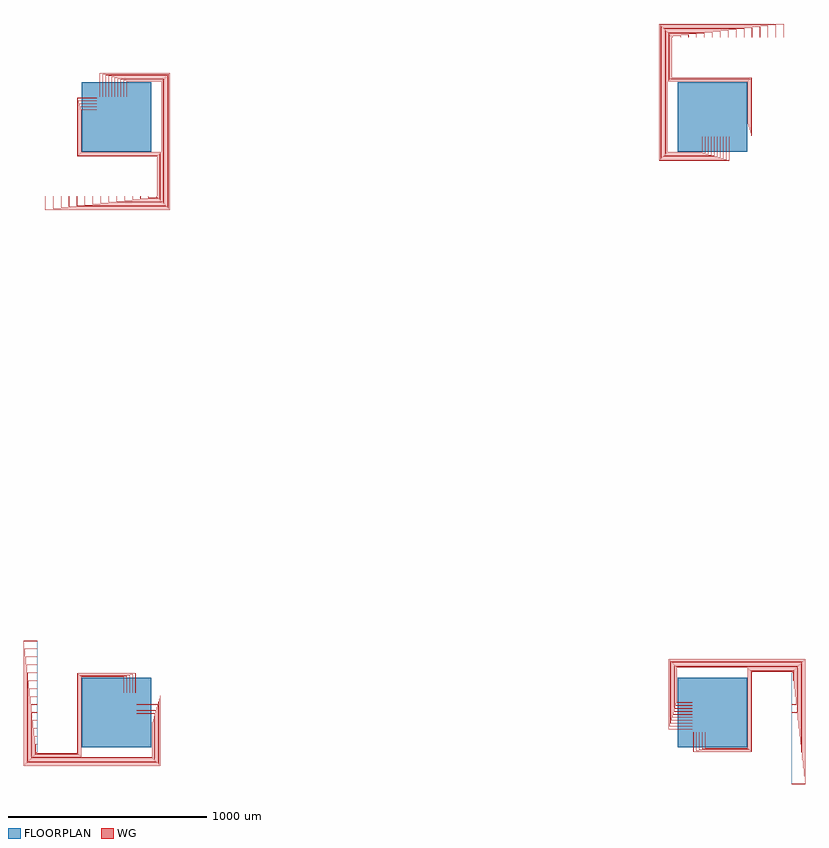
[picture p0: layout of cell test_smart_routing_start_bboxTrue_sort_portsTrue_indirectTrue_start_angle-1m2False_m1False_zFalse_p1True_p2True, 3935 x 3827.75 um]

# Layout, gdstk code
import gdstk
lib = gdstk.Library(unit=1e-6, precision=1e-09)
def R(c, l, rs):  # rectangles x0, y0, x1, y1
    for r in rs: c.add(gdstk.rectangle(r[:2], r[2:], *l))
def P(c, l, *ps):  # polygons
    for p in ps: c.add(gdstk.Polygon(p, *l))
WG = (1, 0)
FLOORPLAN = (10, 0)

test_smart_routing_start = lib.new_cell('test_smart_routing_start_bboxTrue_sort_portsTrue_indirectTrue_start_angle-1m2False_m1False_zFalse_p1True_p2True')
P(test_smart_routing_start, WG, [(3100,2904.75),(3100,2904.95),(3197.3,2904.95),(3197.3,3197.3),(2795.55,3197.3),(2795.55,3404.2),(2799.95,3404.2),(2799.95,3400),(2799.75,3400),(2799.75,3404),(2795.75,3404),(2795.75,3197.5),(3197.5,3197.5),(3197.5,2904.75)],
  [(3100,2905.05),(3100,2905.25),(3197,2905.25),(3197,3197),(2795.25,3197),(2795.25,3404.5),(2800.25,3404.5),(2800.25,3400),(2800.05,3400),(2800.05,3404.3),(2795.45,3404.3),(2795.45,3197.2),(3197.2,3197.2),(3197.2,2905.05)],
  [(3100,2919.75),(3100,2919.95),(3192.8,2919.95),(3192.8,3192.8),(2791.05,3192.8),(2791.05,3408.7),(2839.95,3408.7),(2839.95,3400),(2839.75,3400),(2839.75,3408.5),(2791.25,3408.5),(2791.25,3193),(3193,3193),(3193,2919.75)],
  [(3100,2920.05),(3100,2920.25),(3192.5,2920.25),(3192.5,3192.5),(2790.75,3192.5),(2790.75,3409),(2840.25,3409),(2840.25,3400),(2840.05,3400),(2840.05,3408.8),(2790.95,3408.8),(2790.95,3192.7),(3192.7,3192.7),(3192.7,2920.05)],
  [(3100,2934.75),(3100,2934.95),(3188.3,2934.95),(3188.3,3188.3),(2786.55,3188.3),(2786.55,3413.2),(2879.95,3413.2),(2879.95,3400),(2879.75,3400),(2879.75,3413),(2786.75,3413),(2786.75,3188.5),(3188.5,3188.5),(3188.5,2934.75)],
  [(3100,2935.05),(3100,2935.25),(3188,2935.25),(3188,3188),(2786.25,3188),(2786.25,3413.5),(2880.25,3413.5),(2880.25,3400),(2880.05,3400),(2880.05,3413.3),(2786.45,3413.3),(2786.45,3188.2),(3188.2,3188.2),(3188.2,2935.05)],
  [(3100,2949.75),(3100,2949.95),(3183.8,2949.95),(3183.8,3183.8),(2782.05,3183.8),(2782.05,3417.7),(2919.95,3417.7),(2919.95,3400),(2919.75,3400),(2919.75,3417.5),(2782.25,3417.5),(2782.25,3184),(3184,3184),(3184,2949.75)],
  [(3100,2950.05),(3100,2950.25),(3183.5,2950.25),(3183.5,3183.5),(2781.75,3183.5),(2781.75,3418),(2920.25,3418),(2920.25,3400),(2920.05,3400),(2920.05,3417.8),(2781.95,3417.8),(2781.95,3183.7),(3183.7,3183.7),(3183.7,2950.05)],
  [(3100,2964.75),(3100,2964.95),(3179.3,2964.95),(3179.3,3179.3),(2777.55,3179.3),(2777.55,3422.2),(2959.95,3422.2),(2959.95,3400),(2959.75,3400),(2959.75,3422),(2777.75,3422),(2777.75,3179.5),(3179.5,3179.5),(3179.5,2964.75)],
  [(3100,2965.05),(3100,2965.25),(3179,2965.25),(3179,3179),(2777.25,3179),(2777.25,3422.5),(2960.25,3422.5),(2960.25,3400),(2960.05,3400),(2960.05,3422.3),(2777.45,3422.3),(2777.45,3179.2),(3179.2,3179.2),(3179.2,2965.05)],
  [(2773.05,2820.8),(2773.05,3426.7),(2999.95,3426.7),(2999.95,3400),(2999.75,3400),(2999.75,3426.5),(2773.25,3426.5),(2773.25,2821),(2949.75,2821),(2949.75,2900),(2949.95,2900),(2949.95,2820.8)],
  [(2772.75,2820.5),(2772.75,3427),(3000.25,3427),(3000.25,3400),(3000.05,3400),(3000.05,3426.8),(2772.95,3426.8),(2772.95,2820.7),(2950.05,2820.7),(2950.05,2900),(2950.25,2900),(2950.25,2820.5)],
  [(2768.55,2816.3),(2768.55,3431.2),(3039.95,3431.2),(3039.95,3400),(3039.75,3400),(3039.75,3431),(2768.75,3431),(2768.75,2816.5),(2964.75,2816.5),(2964.75,2900),(2964.95,2900),(2964.95,2816.3)],
  [(2768.25,2816),(2768.25,3431.5),(3040.25,3431.5),(3040.25,3400),(3040.05,3400),(3040.05,3431.3),(2768.45,3431.3),(2768.45,2816.2),(2965.05,2816.2),(2965.05,2900),(2965.25,2900),(2965.25,2816)],
  [(2764.05,2811.8),(2764.05,3435.7),(3079.95,3435.7),(3079.95,3400),(3079.75,3400),(3079.75,3435.5),(2764.25,3435.5),(2764.25,2812),(2979.75,2812),(2979.75,2900),(2979.95,2900),(2979.95,2811.8)],
  [(2763.75,2811.5),(2763.75,3436),(3080.25,3436),(3080.25,3400),(3080.05,3400),(3080.05,3435.8),(2763.95,3435.8),(2763.95,2811.7),(2980.05,2811.7),(2980.05,2900),(2980.25,2900),(2980.25,2811.5)],
  [(2759.55,2807.3),(2759.55,3440.2),(3119.95,3440.2),(3119.95,3400),(3119.75,3400),(3119.75,3440),(2759.75,3440),(2759.75,2807.5),(2994.75,2807.5),(2994.75,2900),(2994.95,2900),(2994.95,2807.3)],
  [(2759.25,2807),(2759.25,3440.5),(3120.25,3440.5),(3120.25,3400),(3120.05,3400),(3120.05,3440.3),(2759.45,3440.3),(2759.45,2807.2),(2995.05,2807.2),(2995.05,2900),(2995.25,2900),(2995.25,2807)],
  [(2755.05,2802.8),(2755.05,3444.7),(3159.95,3444.7),(3159.95,3400),(3159.75,3400),(3159.75,3444.5),(2755.25,3444.5),(2755.25,2803),(3009.75,2803),(3009.75,2900),(3009.95,2900),(3009.95,2802.8)],
  [(2754.75,2802.5),(2754.75,3445),(3160.25,3445),(3160.25,3400),(3160.05,3400),(3160.05,3444.8),(2754.95,3444.8),(2754.95,2802.7),(3010.05,2802.7),(3010.05,2900),(3010.25,2900),(3010.25,2802.5)],
  [(2750.55,2798.3),(2750.55,3449.2),(3199.95,3449.2),(3199.95,3400),(3199.75,3400),(3199.75,3449),(2750.75,3449),(2750.75,2798.5),(3024.75,2798.5),(3024.75,2900),(3024.95,2900),(3024.95,2798.3)],
  [(2750.25,2798),(2750.25,3449.5),(3200.25,3449.5),(3200.25,3400),(3200.05,3400),(3200.05,3449.3),(2750.45,3449.3),(2750.45,2798.2),(3025.05,2798.2),(3025.05,2900),(3025.25,2900),(3025.25,2798)],
  [(2746.05,2793.8),(2746.05,3453.7),(3239.95,3453.7),(3239.95,3400),(3239.75,3400),(3239.75,3453.5),(2746.25,3453.5),(2746.25,2794),(3039.75,2794),(3039.75,2900),(3039.95,2900),(3039.95,2793.8)],
  [(2745.75,2793.5),(2745.75,3454),(3240.25,3454),(3240.25,3400),(3240.05,3400),(3240.05,3453.8),(2745.95,3453.8),(2745.95,2793.7),(3040.05,2793.7),(3040.05,2900),(3040.25,2900),(3040.25,2793.5)],
  [(2741.55,2789.3),(2741.55,3458.2),(3279.95,3458.2),(3279.95,3400),(3279.75,3400),(3279.75,3458),(2741.75,3458),(2741.75,2789.5),(3054.75,2789.5),(3054.75,2900),(3054.95,2900),(3054.95,2789.3)],
  [(2741.25,2789),(2741.25,3458.5),(3280.25,3458.5),(3280.25,3400),(3280.05,3400),(3280.05,3458.3),(2741.45,3458.3),(2741.45,2789.2),(3055.05,2789.2),(3055.05,2900),(3055.25,2900),(3055.25,2789)],
  [(2737.05,2784.8),(2737.05,3462.7),(3319.95,3462.7),(3319.95,3400),(3319.75,3400),(3319.75,3462.5),(2737.25,3462.5),(2737.25,2785),(3069.75,2785),(3069.75,2900),(3069.95,2900),(3069.95,2784.8)],
  [(2736.75,2784.5),(2736.75,3463),(3320.25,3463),(3320.25,3400),(3320.05,3400),(3320.05,3462.8),(2736.95,3462.8),(2736.95,2784.7),(3070.05,2784.7),(3070.05,2900),(3070.25,2900),(3070.25,2784.5)],
  [(2732.55,2780.3),(2732.55,3467.2),(3359.95,3467.2),(3359.95,3400),(3359.75,3400),(3359.75,3467),(2732.75,3467),(2732.75,2780.5),(3084.75,2780.5),(3084.75,2900),(3084.95,2900),(3084.95,2780.3)],
  [(2732.25,2780),(2732.25,3467.5),(3360.25,3467.5),(3360.25,3400),(3360.05,3400),(3360.05,3467.3),(2732.45,3467.3),(2732.45,2780.2),(3085.05,2780.2),(3085.05,2900),(3085.25,2900),(3085.25,2780)],
  [(199.75,2595.5),(199.75,2600),(199.95,2600),(199.95,2595.7),(204.55,2595.7),(204.55,2802.8),(-197.2,2802.8),(-197.2,3094.95),(-100,3094.95),(-100,3094.75),(-197,3094.75),(-197,2803),(204.75,2803),(204.75,2595.5)],
  [(200.05,2595.8),(200.05,2600),(200.25,2600),(200.25,2596),(204.25,2596),(204.25,2802.5),(-197.5,2802.5),(-197.5,3095.25),(-100,3095.25),(-100,3095.05),(-197.3,3095.05),(-197.3,2802.7),(204.45,2802.7),(204.45,2595.8)],
  [(159.75,2591),(159.75,2600),(159.95,2600),(159.95,2591.2),(209.05,2591.2),(209.05,2807.3),(-192.7,2807.3),(-192.7,3079.95),(-100,3079.95),(-100,3079.75),(-192.5,3079.75),(-192.5,2807.5),(209.25,2807.5),(209.25,2591)],
  [(160.05,2591.3),(160.05,2600),(160.25,2600),(160.25,2591.5),(208.75,2591.5),(208.75,2807),(-193,2807),(-193,3080.25),(-100,3080.25),(-100,3080.05),(-192.8,3080.05),(-192.8,2807.2),(208.95,2807.2),(208.95,2591.3)],
  [(119.75,2586.5),(119.75,2600),(119.95,2600),(119.95,2586.7),(213.55,2586.7),(213.55,2811.8),(-188.2,2811.8),(-188.2,3064.95),(-100,3064.95),(-100,3064.75),(-188,3064.75),(-188,2812),(213.75,2812),(213.75,2586.5)],
  [(120.05,2586.8),(120.05,2600),(120.25,2600),(120.25,2587),(213.25,2587),(213.25,2811.5),(-188.5,2811.5),(-188.5,3065.25),(-100,3065.25),(-100,3065.05),(-188.3,3065.05),(-188.3,2811.7),(213.45,2811.7),(213.45,2586.8)],
  [(79.75,2582),(79.75,2600),(79.95,2600),(79.95,2582.2),(218.05,2582.2),(218.05,2816.3),(-183.7,2816.3),(-183.7,3049.95),(-100,3049.95),(-100,3049.75),(-183.5,3049.75),(-183.5,2816.5),(218.25,2816.5),(218.25,2582)],
  [(80.05,2582.3),(80.05,2600),(80.25,2600),(80.25,2582.5),(217.75,2582.5),(217.75,2816),(-184,2816),(-184,3050.25),(-100,3050.25),(-100,3050.05),(-183.8,3050.05),(-183.8,2816.2),(217.95,2816.2),(217.95,2582.3)],
  [(39.75,2577.5),(39.75,2600),(39.95,2600),(39.95,2577.7),(222.55,2577.7),(222.55,2820.8),(-179.2,2820.8),(-179.2,3034.95),(-100,3034.95),(-100,3034.75),(-179,3034.75),(-179,2821),(222.75,2821),(222.75,2577.5)],
  [(40.05,2577.8),(40.05,2600),(40.25,2600),(40.25,2578),(222.25,2578),(222.25,2820.5),(-179.5,2820.5),(-179.5,3035.25),(-100,3035.25),(-100,3035.05),(-179.3,3035.05),(-179.3,2820.7),(222.45,2820.7),(222.45,2577.8)],
  [(0.05,2573.3),(0.05,2600),(0.25,2600),(0.25,2573.5),(226.75,2573.5),(226.75,3179),(50.25,3179),(50.25,3100),(50.05,3100),(50.05,3179.2),(226.95,3179.2),(226.95,2573.3)],
  [(-0.25,2573),(-0.25,2600),(-0.05,2600),(-0.05,2573.2),(227.05,2573.2),(227.05,3179.3),(49.95,3179.3),(49.95,3100),(49.75,3100),(49.75,3179.5),(227.25,3179.5),(227.25,2573)],
  [(-39.95,2568.8),(-39.95,2600),(-39.75,2600),(-39.75,2569),(231.25,2569),(231.25,3183.5),(35.25,3183.5),(35.25,3100),(35.05,3100),(35.05,3183.7),(231.45,3183.7),(231.45,2568.8)],
  [(-40.25,2568.5),(-40.25,2600),(-40.05,2600),(-40.05,2568.7),(231.55,2568.7),(231.55,3183.8),(34.95,3183.8),(34.95,3100),(34.75,3100),(34.75,3184),(231.75,3184),(231.75,2568.5)],
  [(-79.95,2564.3),(-79.95,2600),(-79.75,2600),(-79.75,2564.5),(235.75,2564.5),(235.75,3188),(20.25,3188),(20.25,3100),(20.05,3100),(20.05,3188.2),(235.95,3188.2),(235.95,2564.3)],
  [(-80.25,2564),(-80.25,2600),(-80.05,2600),(-80.05,2564.2),(236.05,2564.2),(236.05,3188.3),(19.95,3188.3),(19.95,3100),(19.75,3100),(19.75,3188.5),(236.25,3188.5),(236.25,2564)],
  [(-119.95,2559.8),(-119.95,2600),(-119.75,2600),(-119.75,2560),(240.25,2560),(240.25,3192.5),(5.25,3192.5),(5.25,3100),(5.05,3100),(5.05,3192.7),(240.45,3192.7),(240.45,2559.8)],
  [(-120.25,2559.5),(-120.25,2600),(-120.05,2600),(-120.05,2559.7),(240.55,2559.7),(240.55,3192.8),(4.95,3192.8),(4.95,3100),(4.75,3100),(4.75,3193),(240.75,3193),(240.75,2559.5)],
  [(-159.95,2555.3),(-159.95,2600),(-159.75,2600),(-159.75,2555.5),(244.75,2555.5),(244.75,3197),(-9.75,3197),(-9.75,3100),(-9.95,3100),(-9.95,3197.2),(244.95,3197.2),(244.95,2555.3)],
  [(-160.25,2555),(-160.25,2600),(-160.05,2600),(-160.05,2555.2),(245.05,2555.2),(245.05,3197.3),(-10.05,3197.3),(-10.05,3100),(-10.25,3100),(-10.25,3197.5),(245.25,3197.5),(245.25,2555)],
  [(-199.95,2550.8),(-199.95,2600),(-199.75,2600),(-199.75,2551),(249.25,2551),(249.25,3201.5),(-24.75,3201.5),(-24.75,3100),(-24.95,3100),(-24.95,3201.7),(249.45,3201.7),(249.45,2550.8)],
  [(-200.25,2550.5),(-200.25,2600),(-200.05,2600),(-200.05,2550.7),(249.55,2550.7),(249.55,3201.8),(-25.05,3201.8),(-25.05,3100),(-25.25,3100),(-25.25,3202),(249.75,3202),(249.75,2550.5)],
  [(-239.95,2546.3),(-239.95,2600),(-239.75,2600),(-239.75,2546.5),(253.75,2546.5),(253.75,3206),(-39.75,3206),(-39.75,3100),(-39.95,3100),(-39.95,3206.2),(253.95,3206.2),(253.95,2546.3)],
  [(-240.25,2546),(-240.25,2600),(-240.05,2600),(-240.05,2546.2),(254.05,2546.2),(254.05,3206.3),(-40.05,3206.3),(-40.05,3100),(-40.25,3100),(-40.25,3206.5),(254.25,3206.5),(254.25,2546)],
  [(-279.95,2541.8),(-279.95,2600),(-279.75,2600),(-279.75,2542),(258.25,2542),(258.25,3210.5),(-54.75,3210.5),(-54.75,3100),(-54.95,3100),(-54.95,3210.7),(258.45,3210.7),(258.45,2541.8)],
  [(-280.25,2541.5),(-280.25,2600),(-280.05,2600),(-280.05,2541.7),(258.55,2541.7),(258.55,3210.8),(-55.05,3210.8),(-55.05,3100),(-55.25,3100),(-55.25,3211),(258.75,3211),(258.75,2541.5)],
  [(-319.95,2537.3),(-319.95,2600),(-319.75,2600),(-319.75,2537.5),(262.75,2537.5),(262.75,3215),(-69.75,3215),(-69.75,3100),(-69.95,3100),(-69.95,3215.2),(262.95,3215.2),(262.95,2537.3)],
  [(-320.25,2537),(-320.25,2600),(-320.05,2600),(-320.05,2537.2),(263.05,2537.2),(263.05,3215.3),(-70.05,3215.3),(-70.05,3100),(-70.25,3100),(-70.25,3215.5),(263.25,3215.5),(263.25,2537)],
  [(-359.95,2532.8),(-359.95,2600),(-359.75,2600),(-359.75,2533),(267.25,2533),(267.25,3219.5),(-84.75,3219.5),(-84.75,3100),(-84.95,3100),(-84.95,3219.7),(267.45,3219.7),(267.45,2532.8)],
  [(-360.25,2532.5),(-360.25,2600),(-360.05,2600),(-360.05,2532.7),(267.55,2532.7),(267.55,3219.8),(-85.05,3219.8),(-85.05,3100),(-85.25,3100),(-85.25,3220),(267.75,3220),(267.75,2532.5)],
  [(-404.5,-204.75),(-404.5,-199.75),(-400,-199.75),(-400,-199.95),(-404.3,-199.95),(-404.3,-204.55),(-197.2,-204.55),(-197.2,197.2),(94.95,197.2),(94.95,100),(94.75,100),(94.75,197),(-197,197),(-197,-204.75)],
  [(-404.2,-204.45),(-404.2,-200.05),(-400,-200.05),(-400,-200.25),(-404,-200.25),(-404,-204.25),(-197.5,-204.25),(-197.5,197.5),(95.25,197.5),(95.25,100),(95.05,100),(95.05,197.3),(-197.3,197.3),(-197.3,-204.45)],
  [(-409,-209.25),(-409,-159.75),(-400,-159.75),(-400,-159.95),(-408.8,-159.95),(-408.8,-209.05),(-192.7,-209.05),(-192.7,192.7),(79.95,192.7),(79.95,100),(79.75,100),(79.75,192.5),(-192.5,192.5),(-192.5,-209.25)],
  [(-408.7,-208.95),(-408.7,-160.05),(-400,-160.05),(-400,-160.25),(-408.5,-160.25),(-408.5,-208.75),(-193,-208.75),(-193,193),(80.25,193),(80.25,100),(80.05,100),(80.05,192.8),(-192.8,192.8),(-192.8,-208.95)],
  [(-413.5,-213.75),(-413.5,-119.75),(-400,-119.75),(-400,-119.95),(-413.3,-119.95),(-413.3,-213.55),(-188.2,-213.55),(-188.2,188.2),(64.95,188.2),(64.95,100),(64.75,100),(64.75,188),(-188,188),(-188,-213.75)],
  [(-413.2,-213.45),(-413.2,-120.05),(-400,-120.05),(-400,-120.25),(-413,-120.25),(-413,-213.25),(-188.5,-213.25),(-188.5,188.5),(65.25,188.5),(65.25,100),(65.05,100),(65.05,188.3),(-188.3,188.3),(-188.3,-213.45)],
  [(-418,-218.25),(-418,-79.75),(-400,-79.75),(-400,-79.95),(-417.8,-79.95),(-417.8,-218.05),(-183.7,-218.05),(-183.7,183.7),(49.95,183.7),(49.95,100),(49.75,100),(49.75,183.5),(-183.5,183.5),(-183.5,-218.25)],
  [(-417.7,-217.95),(-417.7,-80.05),(-400,-80.05),(-400,-80.25),(-417.5,-80.25),(-417.5,-217.75),(-184,-217.75),(-184,184),(50.25,184),(50.25,100),(50.05,100),(50.05,183.8),(-183.8,183.8),(-183.8,-217.95)],
  [(-422.5,-222.75),(-422.5,-39.75),(-400,-39.75),(-400,-39.95),(-422.3,-39.95),(-422.3,-222.55),(-179.2,-222.55),(-179.2,179.2),(34.95,179.2),(34.95,100),(34.75,100),(34.75,179),(-179,179),(-179,-222.75)],
  [(-422.2,-222.45),(-422.2,-40.05),(-400,-40.05),(-400,-40.25),(-422,-40.25),(-422,-222.25),(-179.5,-222.25),(-179.5,179.5),(35.25,179.5),(35.25,100),(35.05,100),(35.05,179.3),(-179.3,179.3),(-179.3,-222.45)],
  [(-426.7,-226.95),(-426.7,-0.05),(-400,-0.05),(-400,-0.25),(-426.5,-0.25),(-426.5,-226.75),(179,-226.75),(179,-50.25),(100,-50.25),(100,-50.05),(179.2,-50.05),(179.2,-226.95)],
  [(-427,-227.25),(-427,0.25),(-400,0.25),(-400,0.05),(-426.8,0.05),(-426.8,-227.05),(179.3,-227.05),(179.3,-49.95),(100,-49.95),(100,-49.75),(179.5,-49.75),(179.5,-227.25)],
  [(-431.2,-231.45),(-431.2,39.95),(-400,39.95),(-400,39.75),(-431,39.75),(-431,-231.25),(183.5,-231.25),(183.5,-35.25),(100,-35.25),(100,-35.05),(183.7,-35.05),(183.7,-231.45)],
  [(-431.5,-231.75),(-431.5,40.25),(-400,40.25),(-400,40.05),(-431.3,40.05),(-431.3,-231.55),(183.8,-231.55),(183.8,-34.95),(100,-34.95),(100,-34.75),(184,-34.75),(184,-231.75)],
  [(-435.7,-235.95),(-435.7,79.95),(-400,79.95),(-400,79.75),(-435.5,79.75),(-435.5,-235.75),(188,-235.75),(188,-20.25),(100,-20.25),(100,-20.05),(188.2,-20.05),(188.2,-235.95)],
  [(-436,-236.25),(-436,80.25),(-400,80.25),(-400,80.05),(-435.8,80.05),(-435.8,-236.05),(188.3,-236.05),(188.3,-19.95),(100,-19.95),(100,-19.75),(188.5,-19.75),(188.5,-236.25)],
  [(-440.2,-240.45),(-440.2,119.95),(-400,119.95),(-400,119.75),(-440,119.75),(-440,-240.25),(192.5,-240.25),(192.5,-5.25),(100,-5.25),(100,-5.05),(192.7,-5.05),(192.7,-240.45)],
  [(-440.5,-240.75),(-440.5,120.25),(-400,120.25),(-400,120.05),(-440.3,120.05),(-440.3,-240.55),(192.8,-240.55),(192.8,-4.95),(100,-4.95),(100,-4.75),(193,-4.75),(193,-240.75)],
  [(-444.7,-244.95),(-444.7,159.95),(-400,159.95),(-400,159.75),(-444.5,159.75),(-444.5,-244.75),(197,-244.75),(197,9.75),(100,9.75),(100,9.95),(197.2,9.95),(197.2,-244.95)],
  [(-445,-245.25),(-445,160.25),(-400,160.25),(-400,160.05),(-444.8,160.05),(-444.8,-245.05),(197.3,-245.05),(197.3,10.05),(100,10.05),(100,10.25),(197.5,10.25),(197.5,-245.25)],
  [(-449.2,-249.45),(-449.2,199.95),(-400,199.95),(-400,199.75),(-449,199.75),(-449,-249.25),(201.5,-249.25),(201.5,24.75),(100,24.75),(100,24.95),(201.7,24.95),(201.7,-249.45)],
  [(-449.5,-249.75),(-449.5,200.25),(-400,200.25),(-400,200.05),(-449.3,200.05),(-449.3,-249.55),(201.8,-249.55),(201.8,25.05),(100,25.05),(100,25.25),(202,25.25),(202,-249.75)],
  [(-453.7,-253.95),(-453.7,239.95),(-400,239.95),(-400,239.75),(-453.5,239.75),(-453.5,-253.75),(206,-253.75),(206,39.75),(100,39.75),(100,39.95),(206.2,39.95),(206.2,-253.95)],
  [(-454,-254.25),(-454,240.25),(-400,240.25),(-400,240.05),(-453.8,240.05),(-453.8,-254.05),(206.3,-254.05),(206.3,40.05),(100,40.05),(100,40.25),(206.5,40.25),(206.5,-254.25)],
  [(-458.2,-258.45),(-458.2,279.95),(-400,279.95),(-400,279.75),(-458,279.75),(-458,-258.25),(210.5,-258.25),(210.5,54.75),(100,54.75),(100,54.95),(210.7,54.95),(210.7,-258.45)],
  [(-458.5,-258.75),(-458.5,280.25),(-400,280.25),(-400,280.05),(-458.3,280.05),(-458.3,-258.55),(210.8,-258.55),(210.8,55.05),(100,55.05),(100,55.25),(211,55.25),(211,-258.75)],
  [(-462.7,-262.95),(-462.7,319.95),(-400,319.95),(-400,319.75),(-462.5,319.75),(-462.5,-262.75),(215,-262.75),(215,69.75),(100,69.75),(100,69.95),(215.2,69.95),(215.2,-262.95)],
  [(-463,-263.25),(-463,320.25),(-400,320.25),(-400,320.05),(-462.8,320.05),(-462.8,-263.05),(215.3,-263.05),(215.3,70.05),(100,70.05),(100,70.25),(215.5,70.25),(215.5,-263.25)],
  [(-467.2,-267.45),(-467.2,359.95),(-400,359.95),(-400,359.75),(-467,359.75),(-467,-267.25),(219.5,-267.25),(219.5,84.75),(100,84.75),(100,84.95),(219.7,84.95),(219.7,-267.45)],
  [(-467.5,-267.75),(-467.5,360.25),(-400,360.25),(-400,360.05),(-467.3,360.05),(-467.3,-267.55),(219.8,-267.55),(219.8,85.05),(100,85.05),(100,85.25),(220,85.25),(220,-267.75)],
  [(2904.75,-197.5),(2904.75,-100),(2904.95,-100),(2904.95,-197.3),(3197.3,-197.3),(3197.3,204.45),(3404.2,204.45),(3404.2,200.05),(3400,200.05),(3400,200.25),(3404,200.25),(3404,204.25),(3197.5,204.25),(3197.5,-197.5)],
  [(2905.05,-197.2),(2905.05,-100),(2905.25,-100),(2905.25,-197),(3197,-197),(3197,204.75),(3404.5,204.75),(3404.5,199.75),(3400,199.75),(3400,199.95),(3404.3,199.95),(3404.3,204.55),(3197.2,204.55),(3197.2,-197.2)],
  [(2919.75,-193),(2919.75,-100),(2919.95,-100),(2919.95,-192.8),(3192.8,-192.8),(3192.8,208.95),(3408.7,208.95),(3408.7,160.05),(3400,160.05),(3400,160.25),(3408.5,160.25),(3408.5,208.75),(3193,208.75),(3193,-193)],
  [(2920.05,-192.7),(2920.05,-100),(2920.25,-100),(2920.25,-192.5),(3192.5,-192.5),(3192.5,209.25),(3409,209.25),(3409,159.75),(3400,159.75),(3400,159.95),(3408.8,159.95),(3408.8,209.05),(3192.7,209.05),(3192.7,-192.7)],
  [(2934.75,-188.5),(2934.75,-100),(2934.95,-100),(2934.95,-188.3),(3188.3,-188.3),(3188.3,213.45),(3413.2,213.45),(3413.2,120.05),(3400,120.05),(3400,120.25),(3413,120.25),(3413,213.25),(3188.5,213.25),(3188.5,-188.5)],
  [(2935.05,-188.2),(2935.05,-100),(2935.25,-100),(2935.25,-188),(3188,-188),(3188,213.75),(3413.5,213.75),(3413.5,119.75),(3400,119.75),(3400,119.95),(3413.3,119.95),(3413.3,213.55),(3188.2,213.55),(3188.2,-188.2)],
  [(2949.75,-184),(2949.75,-100),(2949.95,-100),(2949.95,-183.8),(3183.8,-183.8),(3183.8,217.95),(3417.7,217.95),(3417.7,80.05),(3400,80.05),(3400,80.25),(3417.5,80.25),(3417.5,217.75),(3184,217.75),(3184,-184)],
  [(2950.05,-183.7),(2950.05,-100),(2950.25,-100),(2950.25,-183.5),(3183.5,-183.5),(3183.5,218.25),(3418,218.25),(3418,79.75),(3400,79.75),(3400,79.95),(3417.8,79.95),(3417.8,218.05),(3183.7,218.05),(3183.7,-183.7)],
  [(2964.75,-179.5),(2964.75,-100),(2964.95,-100),(2964.95,-179.3),(3179.3,-179.3),(3179.3,222.45),(3422.2,222.45),(3422.2,40.05),(3400,40.05),(3400,40.25),(3422,40.25),(3422,222.25),(3179.5,222.25),(3179.5,-179.5)],
  [(2965.05,-179.2),(2965.05,-100),(2965.25,-100),(2965.25,-179),(3179,-179),(3179,222.75),(3422.5,222.75),(3422.5,39.75),(3400,39.75),(3400,39.95),(3422.3,39.95),(3422.3,222.55),(3179.2,222.55),(3179.2,-179.2)],
  [(3400,0.05),(3400,0.25),(3426.5,0.25),(3426.5,226.75),(2821,226.75),(2821,50.25),(2900,50.25),(2900,50.05),(2820.8,50.05),(2820.8,226.95),(3426.7,226.95),(3426.7,0.05)],
  [(3400,-0.25),(3400,-0.05),(3426.8,-0.05),(3426.8,227.05),(2820.7,227.05),(2820.7,49.95),(2900,49.95),(2900,49.75),(2820.5,49.75),(2820.5,227.25),(3427,227.25),(3427,-0.25)],
  [(3400,-39.95),(3400,-39.75),(3431,-39.75),(3431,231.25),(2816.5,231.25),(2816.5,35.25),(2900,35.25),(2900,35.05),(2816.3,35.05),(2816.3,231.45),(3431.2,231.45),(3431.2,-39.95)],
  [(3400,-40.25),(3400,-40.05),(3431.3,-40.05),(3431.3,231.55),(2816.2,231.55),(2816.2,34.95),(2900,34.95),(2900,34.75),(2816,34.75),(2816,231.75),(3431.5,231.75),(3431.5,-40.25)],
  [(3400,-79.95),(3400,-79.75),(3435.5,-79.75),(3435.5,235.75),(2812,235.75),(2812,20.25),(2900,20.25),(2900,20.05),(2811.8,20.05),(2811.8,235.95),(3435.7,235.95),(3435.7,-79.95)],
  [(3400,-80.25),(3400,-80.05),(3435.8,-80.05),(3435.8,236.05),(2811.7,236.05),(2811.7,19.95),(2900,19.95),(2900,19.75),(2811.5,19.75),(2811.5,236.25),(3436,236.25),(3436,-80.25)],
  [(3400,-119.95),(3400,-119.75),(3440,-119.75),(3440,240.25),(2807.5,240.25),(2807.5,5.25),(2900,5.25),(2900,5.05),(2807.3,5.05),(2807.3,240.45),(3440.2,240.45),(3440.2,-119.95)],
  [(3400,-120.25),(3400,-120.05),(3440.3,-120.05),(3440.3,240.55),(2807.2,240.55),(2807.2,4.95),(2900,4.95),(2900,4.75),(2807,4.75),(2807,240.75),(3440.5,240.75),(3440.5,-120.25)],
  [(3400,-159.95),(3400,-159.75),(3444.5,-159.75),(3444.5,244.75),(2803,244.75),(2803,-9.75),(2900,-9.75),(2900,-9.95),(2802.8,-9.95),(2802.8,244.95),(3444.7,244.95),(3444.7,-159.95)],
  [(3400,-160.25),(3400,-160.05),(3444.8,-160.05),(3444.8,245.05),(2802.7,245.05),(2802.7,-10.05),(2900,-10.05),(2900,-10.25),(2802.5,-10.25),(2802.5,245.25),(3445,245.25),(3445,-160.25)],
  [(3400,-199.95),(3400,-199.75),(3449,-199.75),(3449,249.25),(2798.5,249.25),(2798.5,-24.75),(2900,-24.75),(2900,-24.95),(2798.3,-24.95),(2798.3,249.45),(3449.2,249.45),(3449.2,-199.95)],
  [(3400,-200.25),(3400,-200.05),(3449.3,-200.05),(3449.3,249.55),(2798.2,249.55),(2798.2,-25.05),(2900,-25.05),(2900,-25.25),(2798,-25.25),(2798,249.75),(3449.5,249.75),(3449.5,-200.25)],
  [(3400,-239.95),(3400,-239.75),(3453.5,-239.75),(3453.5,253.75),(2794,253.75),(2794,-39.75),(2900,-39.75),(2900,-39.95),(2793.8,-39.95),(2793.8,253.95),(3453.7,253.95),(3453.7,-239.95)],
  [(3400,-240.25),(3400,-240.05),(3453.8,-240.05),(3453.8,254.05),(2793.7,254.05),(2793.7,-40.05),(2900,-40.05),(2900,-40.25),(2793.5,-40.25),(2793.5,254.25),(3454,254.25),(3454,-240.25)],
  [(3400,-279.95),(3400,-279.75),(3458,-279.75),(3458,258.25),(2789.5,258.25),(2789.5,-54.75),(2900,-54.75),(2900,-54.95),(2789.3,-54.95),(2789.3,258.45),(3458.2,258.45),(3458.2,-279.95)],
  [(3400,-280.25),(3400,-280.05),(3458.3,-280.05),(3458.3,258.55),(2789.2,258.55),(2789.2,-55.05),(2900,-55.05),(2900,-55.25),(2789,-55.25),(2789,258.75),(3458.5,258.75),(3458.5,-280.25)],
  [(3400,-319.95),(3400,-319.75),(3462.5,-319.75),(3462.5,262.75),(2785,262.75),(2785,-69.75),(2900,-69.75),(2900,-69.95),(2784.8,-69.95),(2784.8,262.95),(3462.7,262.95),(3462.7,-319.95)],
  [(3400,-320.25),(3400,-320.05),(3462.8,-320.05),(3462.8,263.05),(2784.7,263.05),(2784.7,-70.05),(2900,-70.05),(2900,-70.25),(2784.5,-70.25),(2784.5,263.25),(3463,263.25),(3463,-320.25)],
  [(3400,-359.95),(3400,-359.75),(3467,-359.75),(3467,267.25),(2780.5,267.25),(2780.5,-84.75),(2900,-84.75),(2900,-84.95),(2780.3,-84.95),(2780.3,267.45),(3467.2,267.45),(3467.2,-359.95)],
  [(3400,-360.25),(3400,-360.05),(3467.3,-360.05),(3467.3,267.55),(2780.2,267.55),(2780.2,-85.05),(2900,-85.05),(2900,-85.25),(2780,-85.25),(2780,267.75),(3467.5,267.75),(3467.5,-360.25)])
R(test_smart_routing_start, FLOORPLAN, [(-175,-175,175,175), (2825,-175,3175,175), (-175,2825,175,3175), (2825,2825,3175,3175)])
P(test_smart_routing_start, FLOORPLAN, [(-400,-200),(-400,360),(-400,360),(-400,-200)],
  [(-360,2600),(-360,2600),(200,2600),(200,2600)],
  [(3400,-360),(3400,200),(3400,200),(3400,-360)],
  [(2800,3400),(2800,3400),(3360,3400),(3360,3400)])

lib.write_gds('test_smart_routing_start_bboxTrue_sort_portsTrue_indirectTrue_start_angle-1m2False_m1False_zFalse_p1True_p2True.gds')
